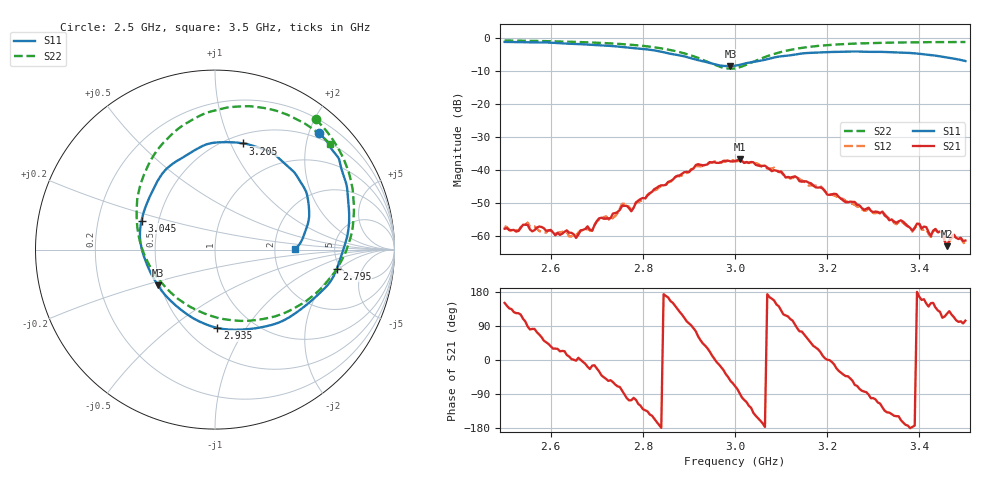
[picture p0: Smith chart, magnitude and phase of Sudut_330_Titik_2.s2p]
# Hz S RI R 50
! CMT, C1220, 16058040, 17.2.0/1
! Date: 15/08/2018 10:53:26
! Data: Format (Calibration Info)
! Freq  S11: Re/Im (F2)  S21: Re/Im (F2)  S12: Re/Im (F2)  S22: Re/Im (F2)
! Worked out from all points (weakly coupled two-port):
!   201 points, 2.5 GHz to 3.5 GHz, reference 50 ohm
!   highest |S21| = -36.82 dB at 3.01 GHz (marker M1); lowest = -63.1 dB at 3.46 GHz (marker M2)
!   lowest |S11| = -8.5 dB at 2.99 GHz (marker M3), VSWR 2.20, Z = 24.2 - j11.2 ohm
!   |S11| at or under -10 dB: nowhere
!   |S22| runs from -9.3 to -0.7 dB; largest |S21 - S12| = 0.00098
!   S11 on the Smith chart (normalised r, x): 2.5 GHz: 0.40, +2.17; 2.795 GHz: 4.61, -1.86; 2.935 GHz: 0.70, -0.75; 3.045 GHz: 0.40, +0.16; 3.205 GHz: 0.59, +1.12; 3.5 GHz: 2.62, +0.02
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2.5e9  0.5797 0.6521  -0.00112 0.000628  -0.00124 0.000643  0.561 0.7272
2.655e9  0.7353 0.3472  0.00093 -3.05e-05  0.00101 7.01e-05  0.7227 0.4901
2.67e9  0.7386 0.3166  0.00123 -0.0001  0.00121 -0.00021  0.7355 0.4575
2.755e9  0.729 0.0459  0.000455 -0.00281  0.000673 -0.00299  0.7742 0.2325
2.775e9  0.7077 -0.0223  -0.000658 -0.00226  -0.000787 -0.00231  0.7718 0.166
2.795e9  0.679 -0.1064  -0.00184 -0.00312  -0.00173 -0.0029  0.7621 0.0948
2.835e9  0.581 -0.2448  -0.0056 -0.000895  -0.00536 -0.000959  0.7034 -0.0645
2.935e9  0.0137 -0.4367  0.00936 0.00733  0.00908 0.00774  0.224 -0.3928
2.99e9  -0.3183 -0.1987  0.00777 -0.011  0.00837 -0.0114  -0.2089 -0.2725
3e9  -0.3562 -0.1342  0.0049 -0.0126  0.00424 -0.0129  -0.2737 -0.2119
3.01e9  -0.3857 -0.0653  0.00057 -0.0144  0.000632 -0.0138  -0.3302 -0.1447
3.045e9  -0.4091 0.1616  -0.01 -0.00647  -0.0105 -0.00696  -0.433 0.1278
3.17e9  0.0249 0.5977  0.00462 0.0035  0.00435 0.00379  -0.0959 0.7401
3.205e9  0.1576 0.5915  0.00418 -2.53e-05  0.0042 -0.000274  0.0328 0.7836
3.335e9  0.4664 0.3941  -0.0013 -0.00113  -0.00144 -0.00109  0.3884 0.7571
3.385e9  0.5167 0.2842  -0.0012 -7.05e-05  -0.00116 -4.82e-05  0.4822 0.7132
3.4e9  0.5225 0.2441  -0.00148 0.000352  -0.00142 0.000474  0.5058 0.6985
3.425e9  0.5236 0.1749  -0.000856 0.000495  -0.000816 0.00051  0.5447 0.6734
3.435e9  0.5192 0.151  -0.000955 0.000842  -0.000882 0.000872  0.5594 0.6614
3.46e9  0.4981 0.0879  -0.000371 0.00059  -0.000375 0.000703  0.5939 0.6344
3.475e9  0.4837 0.0521  -0.00041 0.000959  -0.000416 0.000875  0.6118 0.6173
3.5e9  0.4481 0.00359  -0.000201 0.000824  -7.03e-05 0.000736  0.6413 0.5876
